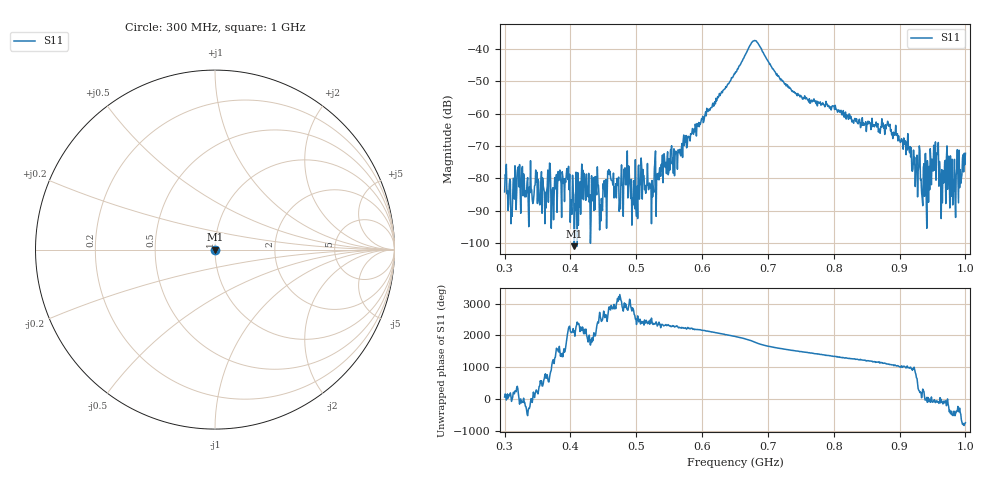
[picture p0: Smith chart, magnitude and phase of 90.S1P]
! C:\Users\rflab\Downloads\q2\90.S1P
! Touchstone 1.1 file saved by VNA.EXE V1.65 (www.ke5fx.com/gpib/readme.htm)
! 11/20/2024 11:09:31 AM
!  Source: HEWLETT PACKARD,8753D,0,6.14
!  Min freq: 3.000000E+008 Hz
!  Max freq: 1.000000E+009 Hz
!  Points: 801
!  Params: S21
# GHZ S MA R 50
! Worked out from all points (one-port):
!   801 points, 300 MHz to 1 GHz, reference 50 ohm
!   lowest |S11| = -100.9 dB at 405.9 MHz (marker M1), VSWR 1.00, Z = 50 - j0.000387 ohm
!   |S11| at or under -10 dB: start of sweep to end of sweep
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0.3  6.2e-05 66.9
0.3875  0.000127 -3.2
0.405875  9e-06 -25.4
0.475  4.3e-05 43.1
0.4855  8e-05 -39.7
0.49425  4.9e-05 -11.4
0.5065  8.3e-05 -161.4
0.523125  2e-05 24.1
0.52575  7.5e-05 -176.5
0.5625  0.000139 127.2
0.65  0.004143 166.8
0.680625  0.01341 -15.9
0.715625  0.003876 159.6
0.7375  0.002255 90.2
0.825  0.00084 -166.2
0.86875  0.000567 96.3
0.881875  0.000764 21.7
0.9125  0.000492 -94.3
0.922125  0.000165 -76.5
0.92825  0.000131 -31.6
0.93525  3.8e-05 -44.4
0.9475  0.000185 -92.5
0.955375  9.4e-05 -55.3
0.96325  2.4e-05 -4.3
0.972  0.000318 -152.6
0.9825  6.4e-05 -17.3
0.992125  0.000137 -49.4
1  0.000244 -20.6
